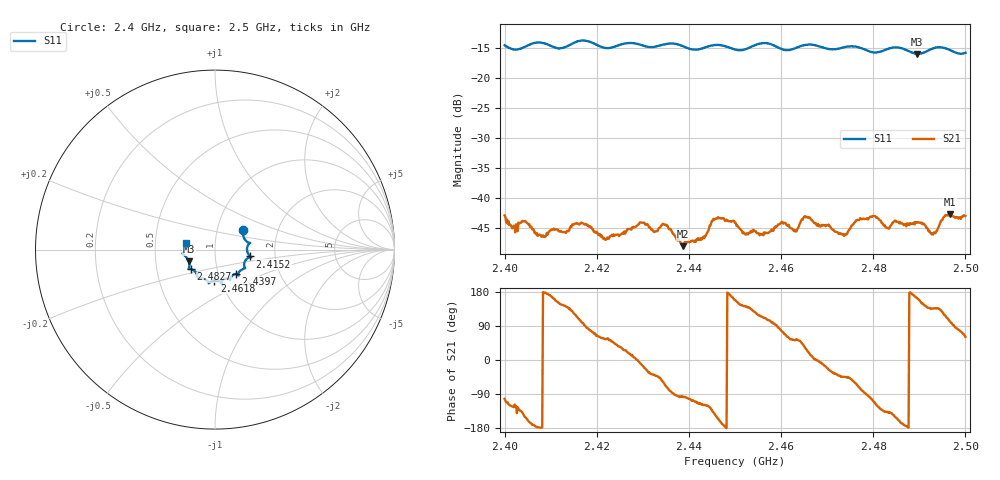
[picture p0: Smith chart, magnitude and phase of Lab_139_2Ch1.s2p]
# Hz S RI R 50
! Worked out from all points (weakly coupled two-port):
!   601 points, 2.4 GHz to 2.5 GHz, reference 50 ohm
!   highest |S21| = -42.76 dB at 2.4967 GHz (marker M1); lowest = -48.1 dB at 2.4387 GHz (marker M2)
!   lowest |S11| = -15.9 dB at 2.4895 GHz (marker M3), VSWR 1.38, Z = 37 - j5 ohm
!   |S11| at or under -10 dB: start of sweep to end of sweep
!   S12 and S22 are empty: the file has one direction only
!   S11 on the Smith chart (normalised r, x): 2.4 GHz: 1.33, +0.30; 2.4152 GHz: 1.48, -0.12; 2.4397 GHz: 1.21, -0.34; 2.4618 GHz: 0.94, -0.33; 2.4827 GHz: 0.75, -0.17; 2.5 GHz: 0.72, +0.06
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2.4e9  0.1557 0.1078  -0.00155 -0.00697  0 0  0 0
2.408333e9  0.1943 0.0367  -0.00487 6.99e-05  0 0  0 0
2.415167e9  0.1957 -0.0382  -0.00311 0.0052  0 0  0 0
2.416667e9  0.2026 -0.0433  -0.00119 0.00611  0 0  0 0
2.422167e9  0.1662 -0.0667  0.0026 0.00376  0 0  0 0
2.429833e9  0.1545 -0.1092  0.00602 -0.00147  0 0  0 0
2.433333e9  0.1299 -0.134  0.00392 -0.00381  0 0  0 0
2.438667e9  0.1247 -0.1379  -0.000438 -0.00393  0 0  0 0
2.439667e9  0.1167 -0.1361  -0.000768 -0.00418  0 0  0 0
2.445833e9  0.0841 -0.1707  -0.00566 -0.00365  0 0  0 0
2.45e9  0.0645 -0.162  -0.00576 0.00227  0 0  0 0
2.4525e9  0.0409 -0.1716  -0.00384 0.00329  0 0  0 0
2.461833e9  -0.00326 -0.1729  0.0031 0.00476  0 0  0 0
2.466667e9  -0.0348 -0.1882  0.00644 0.00118  0 0  0 0
2.4735e9  -0.0852 -0.1602  0.00357 -0.0035  0 0  0 0
2.479833e9  -0.1088 -0.1247  -0.00186 -0.0068  0 0  0 0
2.482667e9  -0.1352 -0.1086  -0.00414 -0.00391  0 0  0 0
2.483333e9  -0.1403 -0.1083  -0.00422 -0.00358  0 0  0 0
2.4895e9  -0.1461 -0.0659  -0.00601 0.00174  0 0  0 0
2.493e9  -0.1762 -0.0263  -0.00355 0.00344  0 0  0 0
2.496667e9  -0.1722 -0.0102  -0.00148 0.00712  0 0  0 0
2.5e9  -0.1589 0.0389  0.00342 0.00618  0 0  0 0
